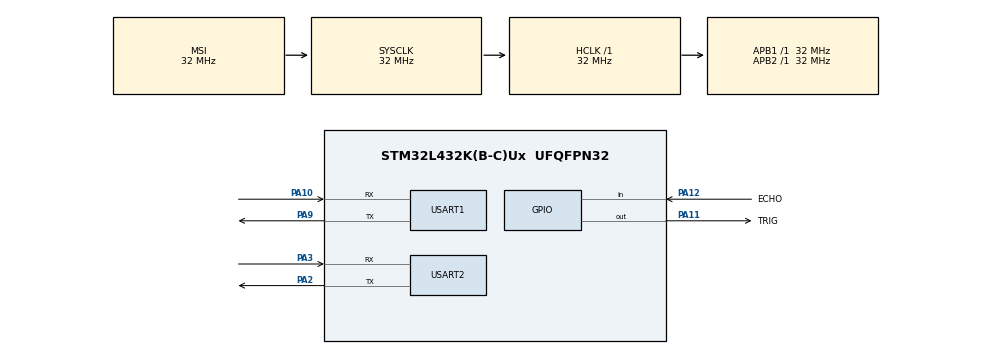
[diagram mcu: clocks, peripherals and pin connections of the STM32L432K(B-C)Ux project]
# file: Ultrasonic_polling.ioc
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Mcu.Family=STM32L4
Mcu.Name=STM32L432K(B-C)Ux
Mcu.Package=UFQFPN32
NVIC.PriorityGroup=NVIC_PRIORITYGROUP_4
PA10.Mode=Asynchronous
PA10.Signal=USART1_RX
PA11.GPIO_Label=TRIG
PA11.Signal=GPIO_Output
PA12.GPIO_Label=ECHO
PA12.Signal=GPIO_Input
PA2.Mode=Asynchronous
PA2.Signal=USART2_TX
PA3.Mode=Asynchronous
PA3.Signal=USART2_RX
PA9.Mode=Asynchronous
PA9.Signal=USART1_TX
ProjectManager.HeapSize=0x200
ProjectManager.StackSize=0x400
ProjectManager.TargetToolchain=CMake
RCC.ADCFreq_Value=128000000
RCC.AHBFreq_Value=32000000
RCC.APB1Freq_Value=32000000
RCC.APB1TimFreq_Value=32000000
RCC.APB2Freq_Value=32000000
RCC.APB2TimFreq_Value=32000000
RCC.CortexFreq_Value=32000000
RCC.HCLKFreq_Value=32000000
RCC.HSE_VALUE=8000000
RCC.HSI48_VALUE=48000000
RCC.HSI_VALUE=16000000
RCC.LSE_VALUE=32768
RCC.MSIClockRange=RCC_MSIRANGE_10
RCC.MSI_VALUE=32000000
RCC.SYSCLKFreq_VALUE=32000000
RCC.USBFreq_Value=128000000
RCC.VCOOutputFreq_Value=256000000
TIM16.Prescaler=31
USART1.VirtualMode-Asynchronous=VM_ASYNC
USART2.VirtualMode-Asynchronous=VM_ASYNC
VP_TIM16_VS_ClockSourceINT.Mode=Enable_Timer
board=custom

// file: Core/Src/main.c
/* USER CODE BEGIN Header */
/**
  ******************************************************************************
  * @file           : main.c
  * @brief          : Main program body
  ******************************************************************************
  * @attention
  *
  * Copyright (c) 2026 STMicroelectronics.
  * All rights reserved.
  *
  * This software is licensed under terms that can be found in the LICENSE file
  * in the root directory of this software component.
  * If no LICENSE file comes with this software, it is provided AS-IS.
  *
  ******************************************************************************
  */
/* USER CODE END Header */
#include "main.h"

/* USER CODE BEGIN Includes */
#include <stdio.h>
#include <string.h>
/* USER CODE END Includes */

TIM_HandleTypeDef htim16;

UART_HandleTypeDef huart1;
UART_HandleTypeDef huart2;

void SystemClock_Config(void);
static void MX_GPIO_Init(void);
static void MX_TIM16_Init(void);
static void MX_USART2_UART_Init(void);
static void MX_USART1_UART_Init(void);

int main(void)
{

  /* MCU Configuration--------------------------------------------------------*/

  /* Reset of all peripherals, Initializes the Flash interface and the Systick. */
  HAL_Init();

  /* Configure the system clock */
  SystemClock_Config();

  /* Initialize all configured peripherals */
  MX_GPIO_Init();
  MX_TIM16_Init();
  MX_USART2_UART_Init();
  MX_USART1_UART_Init();
  /* USER CODE BEGIN 2 */
 HAL_TIM_Base_Start(&htim16);
 static uint8_t is_recording = 0;
  /* USER CODE END 2 */

  /* Infinite loop */
  /* USER CODE BEGIN WHILE */

  while (1)
  {
       /* Trigger pulse - 10µs */
    HAL_GPIO_WritePin(TRIG_GPIO_Port, TRIG_Pin, 1);
    __HAL_TIM_SET_COUNTER(&htim16, 0); /* pass address of timer handle*/
    while (__HAL_TIM_GET_COUNTER(&htim16) < 10); /* cant use hal delay, as its in ms*/
    HAL_GPIO_WritePin(TRIG_GPIO_Port, TRIG_Pin, 0);
    /* setting high for 10us 'triggers' the pulse*/

    /* Wait for ECHO to go HIGH */
    __HAL_TIM_SET_COUNTER(&htim16, 0); /*reset the timer again*/
    while (HAL_GPIO_ReadPin(ECHO_GPIO_Port, ECHO_Pin) == 0) { /*Loops within timeout until echo goes high = precise timer reset*/
        if (__HAL_TIM_GET_COUNTER(&htim16) > 30000) break;
    }

    /* Measure echo pulse width */
    __HAL_TIM_SET_COUNTER(&htim16, 0); /*reset timer again*/
    while (HAL_GPIO_ReadPin(ECHO_GPIO_Port, ECHO_Pin) == 1) { /*Echo stays high until it receives signal, or timeout*/
        if (__HAL_TIM_GET_COUNTER(&htim16) > 38000) break; /*timeout for maximum distance of the specific sensor*/
    }
    uint32_t echo_time = __HAL_TIM_GET_COUNTER(&htim16); /*now we can get the time taken*/

    /* Distance formula: distance(cm) = echo time(µs) / 58 */
    uint32_t distance_cm = echo_time / 58;

  /* Schmitt trigger - state check */
  if (!is_recording && distance_cm <= 10)
  {
      // OBJECT DETECTED: Flip the switch to ON
      is_recording = 1;
  }
  else if (is_recording && distance_cm > 15)
  {
      // OBJECT REMOVED: Flip the switch to OFF only after it clears 15cm
      is_recording = 0;
      uint8_t stop_byte = 0xFF;
      HAL_UART_Transmit(&huart2, &stop_byte, 1, HAL_MAX_DELAY); // if we were recording, and move to far, send stop byte
  }

  /* Transfer audio if within range */
  if (is_recording)
  {
      uint8_t raw_audio_byte;

      // Pull from Sampling STM (UART1)
      if (HAL_UART_Receive(&huart1, &raw_audio_byte, 1, 5) == HAL_OK)
      {
          // Forward to Python (USART2)
          HAL_UART_Transmit(&huart2, &raw_audio_byte, 1, HAL_MAX_DELAY);
      }
      // No Delay here: Maintain high sample rate!
  }
  else
  {
    /* Wait 60ms between readings */
    HAL_Delay(60); //once stop byte sent, we go back to sampling every 60ms
    /* USER CODE END WHILE */

  }
}
}

void SystemClock_Config(void)
{
  RCC_OscInitTypeDef RCC_OscInitStruct = {0};
  RCC_ClkInitTypeDef RCC_ClkInitStruct = {0};

  /** Configure the main internal regulator output voltage
  */
  if (HAL_PWREx_ControlVoltageScaling(PWR_REGULATOR_VOLTAGE_SCALE1) != HAL_OK)
  {
    Error_Handler();
  }

  /** Initializes the RCC Oscillators according to the specified parameters
  * in the RCC_OscInitTypeDef structure.
  */
  RCC_OscInitStruct.OscillatorType = RCC_OSCILLATORTYPE_MSI;
  RCC_OscInitStruct.MSIState = RCC_MSI_ON;
  RCC_OscInitStruct.MSICalibrationValue = 0;
  RCC_OscInitStruct.MSIClockRange = RCC_MSIRANGE_10;
  RCC_OscInitStruct.PLL.PLLState = RCC_PLL_NONE;
  if (HAL_RCC_OscConfig(&RCC_OscInitStruct) != HAL_OK)
  {
    Error_Handler();
  }

  /** Initializes the CPU, AHB and APB buses clocks
  */
  RCC_ClkInitStruct.ClockType = RCC_CLOCKTYPE_HCLK|RCC_CLOCKTYPE_SYSCLK
                              |RCC_CLOCKTYPE_PCLK1|RCC_CLOCKTYPE_PCLK2;
  RCC_ClkInitStruct.SYSCLKSource = RCC_SYSCLKSOURCE_MSI;
  RCC_ClkInitStruct.AHBCLKDivider = RCC_SYSCLK_DIV1;
  RCC_ClkInitStruct.APB1CLKDivider = RCC_HCLK_DIV1;
  RCC_ClkInitStruct.APB2CLKDivider = RCC_HCLK_DIV1;

  if (HAL_RCC_ClockConfig(&RCC_ClkInitStruct, FLASH_LATENCY_1) != HAL_OK)
  {
    Error_Handler();
  }
}

static void MX_TIM16_Init(void)
{

  htim16.Instance = TIM16;
  htim16.Init.Prescaler = 31;
  htim16.Init.CounterMode = TIM_COUNTERMODE_UP;
  htim16.Init.Period = 65535;
  htim16.Init.ClockDivision = TIM_CLOCKDIVISION_DIV1;
  htim16.Init.RepetitionCounter = 0;
  htim16.Init.AutoReloadPreload = TIM_AUTORELOAD_PRELOAD_DISABLE;
  if (HAL_TIM_Base_Init(&htim16) != HAL_OK)
  {
    Error_Handler();
  }

}

static void MX_USART1_UART_Init(void)
{

  huart1.Instance = USART1;
  huart1.Init.BaudRate = 115200;
  huart1.Init.WordLength = UART_WORDLENGTH_8B;
  huart1.Init.StopBits = UART_STOPBITS_1;
  huart1.Init.Parity = UART_PARITY_NONE;
  huart1.Init.Mode = UART_MODE_TX_RX;
  huart1.Init.HwFlowCtl = UART_HWCONTROL_NONE;
  huart1.Init.OverSampling = UART_OVERSAMPLING_16;
  huart1.Init.OneBitSampling = UART_ONE_BIT_SAMPLE_DISABLE;
  huart1.AdvancedInit.AdvFeatureInit = UART_ADVFEATURE_NO_INIT;
  if (HAL_UART_Init(&huart1) != HAL_OK)
  {
    Error_Handler();
  }

}

static void MX_USART2_UART_Init(void)
{

  huart2.Instance = USART2;
  huart2.Init.BaudRate = 115200;
  huart2.Init.WordLength = UART_WORDLENGTH_8B;
  huart2.Init.StopBits = UART_STOPBITS_1;
  huart2.Init.Parity = UART_PARITY_NONE;
  huart2.Init.Mode = UART_MODE_TX_RX;
  huart2.Init.HwFlowCtl = UART_HWCONTROL_NONE;
  huart2.Init.OverSampling = UART_OVERSAMPLING_16;
  huart2.Init.OneBitSampling = UART_ONE_BIT_SAMPLE_DISABLE;
  huart2.AdvancedInit.AdvFeatureInit = UART_ADVFEATURE_NO_INIT;
  if (HAL_UART_Init(&huart2) != HAL_OK)
  {
    Error_Handler();
  }

}

static void MX_GPIO_Init(void)
{
  GPIO_InitTypeDef GPIO_InitStruct = {0};

  /* GPIO Ports Clock Enable */
  __HAL_RCC_GPIOA_CLK_ENABLE();

  /*Configure GPIO pin Output Level */
  HAL_GPIO_WritePin(TRIG_GPIO_Port, TRIG_Pin, GPIO_PIN_RESET);

  /*Configure GPIO pin : TRIG_Pin */
  GPIO_InitStruct.Pin = TRIG_Pin;
  GPIO_InitStruct.Mode = GPIO_MODE_OUTPUT_PP;
  GPIO_InitStruct.Pull = GPIO_NOPULL;
  GPIO_InitStruct.Speed = GPIO_SPEED_FREQ_LOW;
  HAL_GPIO_Init(TRIG_GPIO_Port, &GPIO_InitStruct);

  /*Configure GPIO pin : ECHO_Pin */
  GPIO_InitStruct.Pin = ECHO_Pin;
  GPIO_InitStruct.Mode = GPIO_MODE_INPUT;
  GPIO_InitStruct.Pull = GPIO_NOPULL;
  HAL_GPIO_Init(ECHO_GPIO_Port, &GPIO_InitStruct);

}

void Error_Handler(void)
{
  __disable_irq();
  while (1)
  {
  }
}
